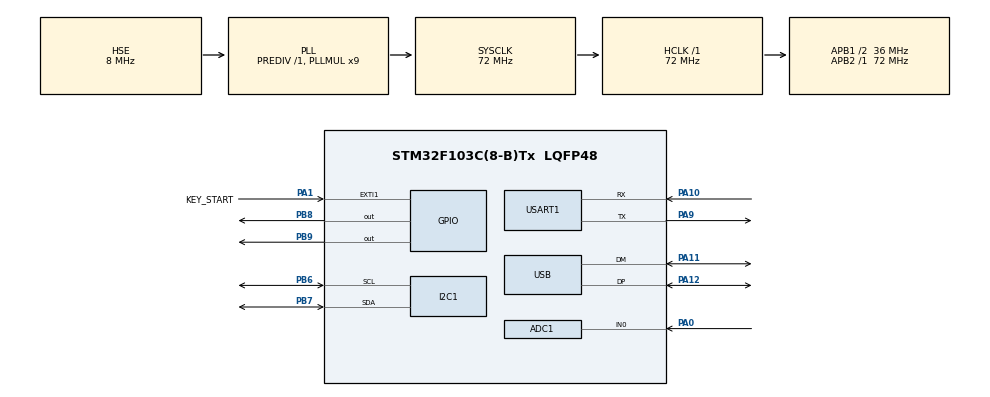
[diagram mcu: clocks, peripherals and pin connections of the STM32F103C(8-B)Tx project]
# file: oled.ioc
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ADC1.Channel-0\#ChannelRegularConversion=ADC_CHANNEL_0
ADC1.ContinuousConvMode=ENABLE
ADC1.NbrOfConversionFlag=1
ADC1.Rank-0\#ChannelRegularConversion=1
ADC1.SamplingTime-0\#ChannelRegularConversion=ADC_SAMPLETIME_239CYCLES_5
ADC1.master=1
I2C1.I2C_Mode=I2C_Fast
Mcu.Family=STM32F1
Mcu.Name=STM32F103C(8-B)Tx
Mcu.Package=LQFP48
NVIC.PriorityGroup=NVIC_PRIORITYGROUP_4
NVIC.USART1_IRQn=true\:0\:0\:false\:false\:true\:true\:true\:true
NVIC.USB_LP_CAN1_RX0_IRQn=true\:0\:0\:false\:false\:true\:false\:true\:true
PA0-WKUP.Signal=ADCx_IN0
PA1.GPIO_Label=KEY_START
PA1.GPIO_ModeDefaultEXTI=GPIO_MODE_IT_FALLING
PA1.GPIO_PuPd=GPIO_PULLUP
PA1.Signal=GPXTI1
PA10.Mode=Asynchronous
PA10.Signal=USART1_RX
PA11.Mode=Device
PA11.Signal=USB_DM
PA12.Mode=Device
PA12.Signal=USB_DP
PA13.Mode=Serial_Wire
PA13.Signal=SYS_JTMS-SWDIO
PA14.Mode=Serial_Wire
PA14.Signal=SYS_JTCK-SWCLK
PA9.Mode=Asynchronous
PA9.Signal=USART1_TX
PB6.Mode=I2C
PB6.Signal=I2C1_SCL
PB7.Mode=I2C
PB7.Signal=I2C1_SDA
PB8.GPIO_ModeDefaultOutputPP=GPIO_MODE_OUTPUT_OD
PB8.GPIO_PuPd=GPIO_NOPULL
PB8.GPIO_Speed=GPIO_SPEED_FREQ_HIGH
PB8.PinState=GPIO_PIN_RESET
PB8.Signal=GPIO_Output
PB9.GPIO_ModeDefaultOutputPP=GPIO_MODE_OUTPUT_OD
PB9.GPIO_PuPd=GPIO_NOPULL
PB9.GPIO_Speed=GPIO_SPEED_FREQ_HIGH
PB9.PinState=GPIO_PIN_RESET
PB9.Signal=GPIO_Output
PD0-OSC_IN.Mode=HSE-External-Oscillator
PD0-OSC_IN.Signal=RCC_OSC_IN
PD1-OSC_OUT.Mode=HSE-External-Oscillator
PD1-OSC_OUT.Signal=RCC_OSC_OUT
ProjectManager.HeapSize=0x200
ProjectManager.StackSize=0x400
ProjectManager.TargetToolchain=STM32CubeIDE
RCC.ADCPresc=RCC_ADCPCLK2_DIV6
RCC.AHBFreq_Value=72000000
RCC.APB1CLKDivider=RCC_HCLK_DIV2
RCC.APB1Freq_Value=36000000
RCC.APB1TimFreq_Value=72000000
RCC.APB2Freq_Value=72000000
RCC.APB2TimFreq_Value=72000000
RCC.HCLKFreq_Value=72000000
RCC.PLLMUL=RCC_PLL_MUL9
RCC.PLLSourceVirtual=RCC_PLLSOURCE_HSE
RCC.SYSCLKFreq_VALUE=72000000
RCC.SYSCLKSource=RCC_SYSCLKSOURCE_PLLCLK
RCC.USBFreq_Value=48000000
RCC.USBPrescaler=RCC_USBCLKSOURCE_PLL_DIV1_5
SH.ADCx_IN0.0=ADC1_IN0,IN0
USART1.VirtualMode=VM_ASYNC
USB_DEVICE.CLASS_NAME_FS=CDC
USB_DEVICE.VirtualMode=Cdc
USB_DEVICE.VirtualModeFS=Cdc_FS
VP_USB_DEVICE_VS_USB_DEVICE_CDC_FS.Mode=CDC_FS
board=custom

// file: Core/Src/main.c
/* USER CODE BEGIN Header */
/**
 ******************************************************************************
 * @file           : main.c
 * @brief          : Main program body
 ******************************************************************************
 */
/* USER CODE END Header */
#include "main.h"
#include "adc.h"
#include "i2c.h"
#include "usart.h"
#include "gpio.h"

/* USER CODE BEGIN Includes */
#include "OLED.h"
#include <string.h>
#include <stdio.h>
#include <math.h>
/* USER CODE END Includes */

/* USER CODE BEGIN PD */
#define RX_BUF_SIZE 128
#define MEDIAN_SAMPLES 5

/* 标定相关 */
#define CALIB_SAMPLE_COUNT 20 // 标定采集帧数
#define H_REAL 198.0f         // 标定用瓶子真实高度 (mm)
#define SKIP_FRAMES_CAL 3     // 标定时舍弃的开始帧数

/* 测量相关 */
#define MEASURE_SAMPLE_CNT 20   // 采集有效帧数
#define MEASURE_TIMEOUT_MS 3000 // 3 秒超时
#define SKIP_FRAMES_MEAS 3      // 测量时舍弃的开始帧数

/* 镜头前端到传感器距离 (mm) */
#define LENS_TO_SENSOR_MM 50.0f

/* USER CODE END PD */

/* USER CODE BEGIN PV */

/* 系统工作状态 */
typedef enum
{
    STATE_IDLE,
    STATE_CAL1_COLLECT,
    STATE_CAL1_DONE,
    STATE_CAL2_COLLECT,
    STATE_CAL2_DONE,
    STATE_CAL3_COLLECT,
    STATE_CAL3_DONE,
    STATE_MEASURE
} SystemState;
SystemState state;

/* 标定数据（三个标定点：100cm, 80cm, 60cm） */
float h1_px, h2_px, h3_px;
float t1_px, t2_px, t3_px;
float b1_px, b2_px, b3_px;

/* 测量结果 */
float D_mm;
float H_mm;
float L_mm;
float conf;
int level_px;

/* 电流 / 功率 */
float I;       // 电流 (mA)
float P_inst;   // 瞬时功率 (mW)
float Pmax;    // 最大功率 (mW)

/* 最新测量颜色名称 */
char measured_color[8];

/* 颜色码到颜色名称的映射表（可根据实际协议修改） */
const char *color_names[] = {
    "None",    // 0
    "Red",     // 1
    "Orange",  // 2
    "Yellow",  // 3
    "Green",   // 4
    "Cyan",    // 5
    "Blue",    // 6
    "Purple",  // 7
    "Black"    // 8   ← 新增
};

/* 串口接收相关 */
uint8_t uart_rx_buf[RX_BUF_SIZE];
uint8_t uart_rx_index;
uint8_t uart_frame_ready;
uint8_t rx_byte;

/* 标定数据缓存 */
float calib_buffer_h[CALIB_SAMPLE_COUNT];
float calib_buffer_t[CALIB_SAMPLE_COUNT];
float calib_buffer_b[CALIB_SAMPLE_COUNT];
int calib_count;
int cal_skip_count;

/* 测量相关变量 */
uint8_t measuring;
uint32_t measure_start_time;
uint8_t top_updated;
uint8_t meas_skip_count;

/* 测量数据缓存 */
float D_buf[MEASURE_SAMPLE_CNT];
float H_buf[MEASURE_SAMPLE_CNT];
float L_buf[MEASURE_SAMPLE_CNT];
int measure_cnt;

/* ADC 相关 */
uint16_t adc_raw_value;

/* USER CODE END PV */

void SystemClock_Config(void);

/* USER CODE BEGIN 0 */

/* 串口接收中断回调 */
void HAL_UART_RxCpltCallback(UART_HandleTypeDef *huart)
{
    if (huart->Instance == USART1)
    {
        if (rx_byte == '\r')
        {
            HAL_UART_Receive_IT(&huart1, &rx_byte, 1);
            return;
        }
        if (rx_byte == '\n')
        {
            uart_rx_buf[uart_rx_index] = '\0';
            uart_frame_ready = 1;
            uart_rx_index = 0;
        }
        else
        {
            uart_rx_buf[uart_rx_index] = rx_byte;
            uart_rx_index++;
            if (uart_rx_index >= RX_BUF_SIZE - 1)
            {
                uart_rx_buf[uart_rx_index] = '\0';
                uart_frame_ready = 1;
                uart_rx_index = 0;
            }
        }
        HAL_UART_Receive_IT(&huart1, &rx_byte, 1);
    }
}

/* 将颜色码（字符串）转换为颜色名称 */
void convert_color_code_to_name(const char *code_str, char *out_name, size_t out_size)
{
    // 尝试将码解释为数字
    int code = -1;
    if (sscanf(code_str, "%d", &code) == 1)
    {
        // 数字映射
        if (code >= 0 && code < (int)(sizeof(color_names) / sizeof(color_names[0])))
        {
            snprintf(out_name, out_size, "%s", color_names[code]);
        }
        else
        {
            snprintf(out_name, out_size, "?%d", code);
        }
    }
    else
    {
        // 不是数字，不处理

    }
}

/* 解析一帧数据，格式: "h,T,B,conf,color_code,level_dist" */
void parse_data_frame(uint8_t *buffer)
{
    int h_px, T_px, B_px, level_dist_px;
    char color_code_str[8];
    float conf_val;

    int ret = sscanf((char *)buffer, "%d,%d,%d,%f,%7[^,],%d",
                     &h_px, &T_px, &B_px, &conf_val, color_code_str, &level_dist_px);
    if (ret != 6)
        return;

    conf = conf_val;
    level_px = level_dist_px;

    // 将颜色码转换为颜色名称
    convert_color_code_to_name(color_code_str, measured_color, sizeof(measured_color));

    /* ---------- 标定阶段 ---------- */
    if (state == STATE_CAL1_COLLECT || state == STATE_CAL2_COLLECT ||
        state == STATE_CAL3_COLLECT)
    {
        if (cal_skip_count < SKIP_FRAMES_CAL)
        {
            cal_skip_count++;
            return;
        }
        if (h_px > 0 && calib_count < CALIB_SAMPLE_COUNT)
        {
            calib_buffer_h[calib_count] = (float)h_px;
            calib_buffer_t[calib_count] = (float)T_px;
            calib_buffer_b[calib_count] = (float)B_px;
            calib_count++;
        }
    }
    /* ---------- 测量阶段 ---------- */
    else if (state == STATE_MEASURE && measuring && !top_updated)
    {
        if (meas_skip_count < SKIP_FRAMES_MEAS)
        {
            meas_skip_count++;
            return;
        }
        if (level_dist_px != -1 && h_px > 0 && measure_cnt < MEASURE_SAMPLE_CNT)
        {
            // 三组标定数据，距离由远到近：1000mm, 800mm, 600mm
            static const float cal_D[3] = {1000.0f, 800.0f, 600.0f};
            float cal_b[3] = {b1_px, b2_px, b3_px};
            float cal_t[3] = {t1_px, t2_px, t3_px};
            float cal_h[3] = {h1_px, h2_px, h3_px};

            float D_ref, h_ref, t_ref;

            // 根据底部坐标 B_px 分段插值/外推
            if (B_px >= cal_b[2])  // 距离 <= 600mm
            {
                float frac = (B_px - cal_b[2]) / (cal_b[1] - cal_b[2]);
                D_ref = cal_D[2] + frac * (cal_D[1] - cal_D[2]);
                h_ref = cal_h[2] + frac * (cal_h[1] - cal_h[2]);
                t_ref = cal_t[2] + frac * (cal_t[1] - cal_t[2]);
            }
            else if (B_px <= cal_b[0])  // 距离 >= 1000mm
            {
                float frac = (B_px - cal_b[0]) / (cal_b[1] - cal_b[0]);
                D_ref = cal_D[0] + frac * (cal_D[1] - cal_D[0]);
                h_ref = cal_h[0] + frac * (cal_h[1] - cal_h[0]);
                t_ref = cal_t[0] + frac * (cal_t[1] - cal_t[0]);
            }
            else  // 在 600~1000mm 之间
            {
                int i;
                for (i = 0; i < 2; i++)
                {
                    if ((B_px >= cal_b[i+1] && B_px <= cal_b[i]) ||
                        (B_px <= cal_b[i+1] && B_px >= cal_b[i]))
                    {
                        float frac = (B_px - cal_b[i]) / (cal_b[i+1] - cal_b[i]);
                        D_ref = cal_D[i] + frac * (cal_D[i+1] - cal_D[i]);
                        h_ref = cal_h[i] + frac * (cal_h[i+1] - cal_h[i]);
                        t_ref = cal_t[i] + frac * (cal_t[i+1] - cal_t[i]);
                        break;
                    }
                }
            }

            // 修正顶边误差
            float T_error = T_px - t_ref;
            float B_eff = B_px - T_error;

            // 用修正后的 B_eff 重新计算 D_ref
            if (B_eff >= cal_b[2])
            {
                float frac = (B_eff - cal_b[2]) / (cal_b[1] - cal_b[2]);
                D_ref = cal_D[2] + frac * (cal_D[1] - cal_D[2]);
            }
            else if (B_eff <= cal_b[0])
            {
                float frac = (B_eff - cal_b[0]) / (cal_b[1] - cal_b[0]);
                D_ref = cal_D[0] + frac * (cal_D[1] - cal_D[0]);
            }
            else
            {
                int i;
                for (i = 0; i < 2; i++)
                {
                    if ((B_eff >= cal_b[i+1] && B_eff <= cal_b[i]) ||
                        (B_eff <= cal_b[i+1] && B_eff >= cal_b[i]))
                    {
                        float frac = (B_eff - cal_b[i]) / (cal_b[i+1] - cal_b[i]);
                        D_ref = cal_D[i] + frac * (cal_D[i+1] - cal_D[i]);
                        break;
                    }
                }
            }

            // 利用镜头前端到传感器距离计算物距
            float D_ref_sensor = D_ref + LENS_TO_SENSOR_MM;
            float D_sensor = D_ref_sensor * h_ref / h_px;
            float D_tmp = D_sensor - LENS_TO_SENSOR_MM;

            // 高度和液位比例
            float ratio = H_REAL / h_ref * D_ref_sensor / D_sensor;
            float H_tmp = ratio * h_px;
            float L_tmp = ratio * level_dist_px;

            D_buf[measure_cnt] = D_tmp;
            H_buf[measure_cnt] = H_tmp;
            L_buf[measure_cnt] = L_tmp;
            measure_cnt++;
        }
    }
}

// 一阶低通滤波
float low_pass_filter(float new_val)
{
    static float lpf_val;
    lpf_val = lpf_val * 0.95f + new_val * 0.05f;
    return lpf_val;
}

/* 中值滤波读取 ADC（电流） */
uint16_t get_adc_median(void)
{
    uint16_t values[MEDIAN_SAMPLES];
    HAL_ADC_Start(&hadc1);
    for (uint8_t i = 0; i < MEDIAN_SAMPLES; i++)
    {
        if (HAL_ADC_PollForConversion(&hadc1, 10) == HAL_OK)
            values[i] = HAL_ADC_GetValue(&hadc1);
        else
            values[i] = 0;
    }
    HAL_ADC_Stop(&hadc1);

    for (uint8_t i = 0; i < MEDIAN_SAMPLES - 1; i++)
    {
        for (uint8_t j = i + 1; j < MEDIAN_SAMPLES; j++)
        {
            if (values[i] > values[j])
            {
                uint16_t temp = values[i];
                values[i] = values[j];
                values[j] = temp;
            }
        }
    }
    return values[MEDIAN_SAMPLES / 2];
}

/* 读取电流，计算瞬时电流（mA）和最大功率（mW） */
void Read_Current(void)
{
    uint16_t adc_value = get_adc_median();
    adc_raw_value = adc_value;
    float voltage = (adc_value / 4095.0f) * 3.3f;
    voltage = low_pass_filter(voltage);

#define INA240_GAIN 20.0f
#define INA240_VREF 1.63f
#define INA240_RSHUNT 0.1f

    float current = (voltage - INA240_VREF) / (INA240_GAIN * INA240_RSHUNT);
    if (current < -5.0f) current = -5.0f;
    if (current > 5.0f)  current = 5.0f;

    I = current * 1000;
    float power_mW = 5.0f * fabsf(current) * 1000;
    if (power_mW > Pmax) Pmax = power_mW;
    P_inst = power_mW;
}

/* 按键下降沿检测（带消抖） */
uint8_t is_key_pressed(void)
{
    static uint8_t last_state = 1;
    uint8_t current = HAL_GPIO_ReadPin(KEY_START_GPIO_Port, KEY_START_Pin);
    uint8_t pressed = 0;

    if (last_state == 1 && current == 0)
    {
        pressed = 1;
        HAL_Delay(20);
        if (HAL_GPIO_ReadPin(KEY_START_GPIO_Port, KEY_START_Pin) != 0)
            pressed = 0;
    }
    last_state = current;
    return pressed;
}

/* 刷新第三、四行：电流（mA）和功率+颜色 */
void refresh_power_display(void)
{
    char line3[20];
    sprintf(line3, "I%dmA P%dmW", (int)(fabsf(I) + 0.5f), (int)(P_inst + 0.5f));
    OLED_ShowString(3, 1, line3);

    char line4[20];
    sprintf(line4, "Pm%dmW %s", (int)(Pmax + 0.5f), measured_color);
    OLED_ShowString(4, 1, line4);
}

/* 刷新上面两行：D、H、L（整数 mm） */
void update_top_lines(void)
{
    char line1[20];
    sprintf(line1, "D%dmm", (int)(D_mm + 0.5f));
    OLED_ShowString(1, 1, line1);

    char line2[20];
    if (H_mm >= 0 && L_mm >= 0)
        sprintf(line2, "H%dmm L%dmm", (int)(H_mm + 0.5f), (int)(L_mm + 0.5f));
    else
        sprintf(line2, "No Level");
    OLED_ShowString(2, 1, line2);
}

/* 去极值平均（去掉 remove 个最大和最小） */
float filter_array(float *arr, int n, int remove)
{
    if (n <= 2 * remove)
    {
        float sum = 0;
        for (int i = 0; i < n; i++) sum += arr[i];
        return (n > 0) ? (sum / n) : 0.0f;
    }
    for (int i = 0; i < n - 1; i++)
        for (int j = i + 1; j < n; j++)
            if (arr[i] > arr[j])
            {
                float t = arr[i]; arr[i] = arr[j]; arr[j] = t;
            }
    float sum = 0;
    for (int i = remove; i < n - remove; i++) sum += arr[i];
    return sum / (n - 2 * remove);
}

/* USER CODE END 0 */

int main(void)
{
    HAL_Init();
    SystemClock_Config();
    MX_GPIO_Init();
    MX_I2C1_Init();
    MX_USART1_UART_Init();
    MX_ADC1_Init();

    printf("D-TI System Start\r\n");
    if (HAL_ADCEx_Calibration_Start(&hadc1) != HAL_OK)
        Error_Handler();

    OLED_Init();
    OLED_Clear();
    OLED_ShowString(1, 1, "Press Key");
    OLED_ShowString(2, 1, "Cal at 100cm");
    HAL_UART_Receive_IT(&huart1, &rx_byte, 1);

    while (1)
    {
        if (is_key_pressed())
        {
            switch (state)
            {
                case STATE_IDLE:
                    state = STATE_CAL1_COLLECT;
                    calib_count = 0; cal_skip_count = 0;
                    OLED_Clear();
                    OLED_ShowString(1, 1, "Calibrating...");
                    OLED_ShowString(2, 1, "Cal at 100cm");
                    break;
                case STATE_CAL1_DONE:
                    state = STATE_CAL2_COLLECT;
                    calib_count = 0; cal_skip_count = 0;
                    OLED_Clear();
                    OLED_ShowString(1, 1, "Calibrating...");
                    OLED_ShowString(2, 1, "Cal at 80cm");
                    break;
                case STATE_CAL2_DONE:
                    state = STATE_CAL3_COLLECT;
                    calib_count = 0; cal_skip_count = 0;
                    OLED_Clear();
                    OLED_ShowString(1, 1, "Calibrating...");
                    OLED_ShowString(2, 1, "Cal at 60cm");
                    break;
                case STATE_CAL3_DONE:
                    state = STATE_MEASURE;
                    measuring = 1; measure_cnt = 0; meas_skip_count = 0;
                    top_updated = 0; Pmax = 0.0f;
                    measure_start_time = HAL_GetTick();
                    OLED_Clear();
                    update_top_lines();
                    break;
                case STATE_MEASURE:
                    measuring = !measuring;
                    if (measuring)
                    {
                        measure_cnt = 0; meas_skip_count = 0;
                        top_updated = 0; Pmax = 0.0f;
                        measure_start_time = HAL_GetTick();
                        OLED_Clear();
                        update_top_lines();
                    }
                    else
                    {
                        OLED_Clear();
                        OLED_ShowString(1, 1, "PAUSED");
                    }
                    break;
                default: break;
            }
        }

        if (uart_frame_ready)
        {
            uart_frame_ready = 0;
            parse_data_frame(uart_rx_buf);
            uart_rx_index = 0;
        }

        // 标定完成判定
        if (state == STATE_CAL1_COLLECT && calib_count >= CALIB_SAMPLE_COUNT)
        {
            h1_px = filter_array(calib_buffer_h, CALIB_SAMPLE_COUNT, 3);
            t1_px = filter_array(calib_buffer_t, CALIB_SAMPLE_COUNT, 3);
            b1_px = filter_array(calib_buffer_b, CALIB_SAMPLE_COUNT, 3);
            state = STATE_CAL1_DONE;
            OLED_Clear();
            OLED_ShowString(1, 1, "Cal at 100cm OK");
            OLED_ShowString(2, 1, "Press Key -> 80cm");
        }
        else if (state == STATE_CAL2_COLLECT && calib_count >= CALIB_SAMPLE_COUNT)
        {
            h2_px = filter_array(calib_buffer_h, CALIB_SAMPLE_COUNT, 3);
            t2_px = filter_array(calib_buffer_t, CALIB_SAMPLE_COUNT, 3);
            b2_px = filter_array(calib_buffer_b, CALIB_SAMPLE_COUNT, 3);
            state = STATE_CAL2_DONE;
            OLED_Clear();
            OLED_ShowString(1, 1, "Cal at 80cm OK");
            OLED_ShowString(2, 1, "Press Key -> 60cm");
        }
        else if (state == STATE_CAL3_COLLECT && calib_count >= CALIB_SAMPLE_COUNT)
        {
            h3_px = filter_array(calib_buffer_h, CALIB_SAMPLE_COUNT, 3);
            t3_px = filter_array(calib_buffer_t, CALIB_SAMPLE_COUNT, 3);
            b3_px = filter_array(calib_buffer_b, CALIB_SAMPLE_COUNT, 3);
            state = STATE_CAL3_DONE;
            OLED_Clear();
            OLED_ShowString(1, 1, "Cal at 60cm OK");
            OLED_ShowString(2, 1, "Press to Start");
        }

        // 测量运行时刷新功率和距离
        if (state == STATE_MEASURE && measuring)
        {
            static uint32_t last_power_refresh = 0;
            uint32_t now = HAL_GetTick();
            if (now - last_power_refresh >= 200)
            {
                last_power_refresh = now;
                Read_Current();
                refresh_power_display();
            }

            if (!top_updated)
            {
                if (measure_cnt >= MEASURE_SAMPLE_CNT)
                {
                    D_mm = filter_array(D_buf, MEASURE_SAMPLE_CNT, 2);
                    H_mm = filter_array(H_buf, MEASURE_SAMPLE_CNT, 2);
                    L_mm = filter_array(L_buf, MEASURE_SAMPLE_CNT, 2);
                    update_top_lines();
                    top_updated = 1;
                }
                else if (HAL_GetTick() - measure_start_time > MEASURE_TIMEOUT_MS)
                {
                    if (measure_cnt > 0)
                    {
                        D_mm = filter_array(D_buf, measure_cnt, 2);
                        H_mm = filter_array(H_buf, measure_cnt, 2);
                        L_mm = filter_array(L_buf, measure_cnt, 2);
                    }
                    else
                    {
                        D_mm = 0.0f; H_mm = 0.0f; L_mm = 0.0f;
                    }
                    update_top_lines();
                    top_updated = 1;
                }
            }
        }
        else
        {
            HAL_Delay(50);
        }
        HAL_Delay(1);
    }
}

void SystemClock_Config(void)
{
    RCC_OscInitTypeDef RCC_OscInitStruct = {0};
    RCC_ClkInitTypeDef RCC_ClkInitStruct = {0};
    RCC_PeriphCLKInitTypeDef PeriphClkInit = {0};

    RCC_OscInitStruct.OscillatorType = RCC_OSCILLATORTYPE_HSE;
    RCC_OscInitStruct.HSEState = RCC_HSE_ON;
    RCC_OscInitStruct.HSEPredivValue = RCC_HSE_PREDIV_DIV1;
    RCC_OscInitStruct.HSIState = RCC_HSI_ON;
    RCC_OscInitStruct.PLL.PLLState = RCC_PLL_ON;
    RCC_OscInitStruct.PLL.PLLSource = RCC_PLLSOURCE_HSE;
    RCC_OscInitStruct.PLL.PLLMUL = RCC_PLL_MUL9;
    if (HAL_RCC_OscConfig(&RCC_OscInitStruct) != HAL_OK)
        Error_Handler();

    RCC_ClkInitStruct.ClockType = RCC_CLOCKTYPE_HCLK | RCC_CLOCKTYPE_SYSCLK | RCC_CLOCKTYPE_PCLK1 | RCC_CLOCKTYPE_PCLK2;
    RCC_ClkInitStruct.SYSCLKSource = RCC_SYSCLKSOURCE_PLLCLK;
    RCC_ClkInitStruct.AHBCLKDivider = RCC_SYSCLK_DIV1;
    RCC_ClkInitStruct.APB1CLKDivider = RCC_HCLK_DIV2;
    RCC_ClkInitStruct.APB2CLKDivider = RCC_HCLK_DIV1;
    if (HAL_RCC_ClockConfig(&RCC_ClkInitStruct, FLASH_LATENCY_2) != HAL_OK)
        Error_Handler();

    PeriphClkInit.PeriphClockSelection = RCC_PERIPHCLK_ADC;
    PeriphClkInit.AdcClockSelection = RCC_ADCPCLK2_DIV6;
    if (HAL_RCCEx_PeriphCLKConfig(&PeriphClkInit) != HAL_OK)
        Error_Handler();
}

void Error_Handler(void)
{
    __disable_irq();
    while (1) {}
}
